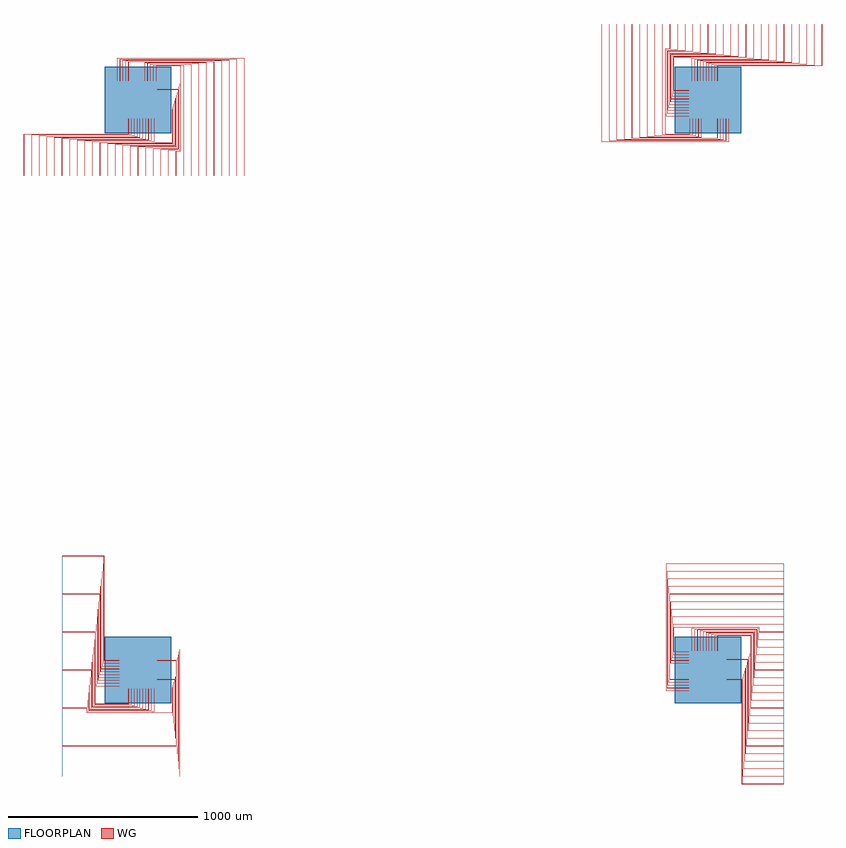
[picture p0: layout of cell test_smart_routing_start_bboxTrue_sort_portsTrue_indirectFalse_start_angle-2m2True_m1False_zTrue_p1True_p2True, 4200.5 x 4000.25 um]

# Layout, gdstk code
import gdstk
lib = gdstk.Library(unit=1e-6, precision=1e-09)
def R(c, l, rs):  # rectangles x0, y0, x1, y1
    for r in rs: c.add(gdstk.rectangle(r[:2], r[2:], *l))
def P(c, l, *ps):  # polygons
    for p in ps: c.add(gdstk.Polygon(p, *l))
WG = (1, 0)
FLOORPLAN = (10, 0)

test_smart_routing_start = lib.new_cell('test_smart_routing_start_bboxTrue_sort_portsTrue_indirectFalse_start_angle-2m2True_m1False_zTrue_p1True_p2True')
P(test_smart_routing_start, WG, [(3049.75,3100),(3049.75,3179.5),(3599.75,3179.5),(3599.75,3400),(3599.95,3400),(3599.95,3179.3),(3049.95,3179.3),(3049.95,3100)],
  [(3050.05,3100),(3050.05,3179.2),(3600.05,3179.2),(3600.05,3400),(3600.25,3400),(3600.25,3179),(3050.25,3179),(3050.25,3100)],
  [(3034.75,3100),(3034.75,3184),(3559.75,3184),(3559.75,3400),(3559.95,3400),(3559.95,3183.8),(3034.95,3183.8),(3034.95,3100)],
  [(3035.05,3100),(3035.05,3183.7),(3560.05,3183.7),(3560.05,3400),(3560.25,3400),(3560.25,3183.5),(3035.25,3183.5),(3035.25,3100)],
  [(3019.75,3100),(3019.75,3188.5),(3519.75,3188.5),(3519.75,3400),(3519.95,3400),(3519.95,3188.3),(3019.95,3188.3),(3019.95,3100)],
  [(3020.05,3100),(3020.05,3188.2),(3520.05,3188.2),(3520.05,3400),(3520.25,3400),(3520.25,3188),(3020.25,3188),(3020.25,3100)],
  [(3004.75,3100),(3004.75,3193),(3479.75,3193),(3479.75,3400),(3479.95,3400),(3479.95,3192.8),(3004.95,3192.8),(3004.95,3100)],
  [(3005.05,3100),(3005.05,3192.7),(3480.05,3192.7),(3480.05,3400),(3480.25,3400),(3480.25,3192.5),(3005.25,3192.5),(3005.25,3100)],
  [(2989.75,3100),(2989.75,3197.5),(3439.75,3197.5),(3439.75,3400),(3439.95,3400),(3439.95,3197.3),(2989.95,3197.3),(2989.95,3100)],
  [(2990.05,3100),(2990.05,3197.2),(3440.05,3197.2),(3440.05,3400),(3440.25,3400),(3440.25,3197),(2990.25,3197),(2990.25,3100)],
  [(2974.75,3100),(2974.75,3202),(3399.75,3202),(3399.75,3400),(3399.95,3400),(3399.95,3201.8),(2974.95,3201.8),(2974.95,3100)],
  [(2975.05,3100),(2975.05,3201.7),(3400.05,3201.7),(3400.05,3400),(3400.25,3400),(3400.25,3201.5),(2975.25,3201.5),(2975.25,3100)],
  [(2959.75,3100),(2959.75,3206.5),(3359.75,3206.5),(3359.75,3400),(3359.95,3400),(3359.95,3206.3),(2959.95,3206.3),(2959.95,3100)],
  [(2960.05,3100),(2960.05,3206.2),(3360.05,3206.2),(3360.05,3400),(3360.25,3400),(3360.25,3206),(2960.25,3206),(2960.25,3100)],
  [(2944.75,3100),(2944.75,3211),(3319.75,3211),(3319.75,3400),(3319.95,3400),(3319.95,3210.8),(2944.95,3210.8),(2944.95,3100)],
  [(2945.05,3100),(2945.05,3210.7),(3320.05,3210.7),(3320.05,3400),(3320.25,3400),(3320.25,3210.5),(2945.25,3210.5),(2945.25,3100)],
  [(2929.75,3100),(2929.75,3215.5),(3279.75,3215.5),(3279.75,3400),(3279.95,3400),(3279.95,3215.3),(2929.95,3215.3),(2929.95,3100)],
  [(2930.05,3100),(2930.05,3215.2),(3280.05,3215.2),(3280.05,3400),(3280.25,3400),(3280.25,3215),(2930.25,3215),(2930.25,3100)],
  [(2914.75,3100),(2914.75,3220),(3239.75,3220),(3239.75,3400),(3239.95,3400),(3239.95,3219.8),(2914.95,3219.8),(2914.95,3100)],
  [(2915.05,3100),(2915.05,3219.7),(3240.05,3219.7),(3240.05,3400),(3240.25,3400),(3240.25,3219.5),(2915.25,3219.5),(2915.25,3100)],
  [(2820.5,3049.75),(2820.5,3224.5),(3199.75,3224.5),(3199.75,3400),(3199.95,3400),(3199.95,3224.3),(2820.7,3224.3),(2820.7,3049.95),(2900,3049.95),(2900,3049.75)],
  [(2820.8,3050.05),(2820.8,3224.2),(3200.05,3224.2),(3200.05,3400),(3200.25,3400),(3200.25,3224),(2821,3224),(2821,3050.25),(2900,3050.25),(2900,3050.05)],
  [(2816,3034.75),(2816,3229),(3159.75,3229),(3159.75,3400),(3159.95,3400),(3159.95,3228.8),(2816.2,3228.8),(2816.2,3034.95),(2900,3034.95),(2900,3034.75)],
  [(2816.3,3035.05),(2816.3,3228.7),(3160.05,3228.7),(3160.05,3400),(3160.25,3400),(3160.25,3228.5),(2816.5,3228.5),(2816.5,3035.25),(2900,3035.25),(2900,3035.05)],
  [(2811.5,3019.75),(2811.5,3233.5),(3119.75,3233.5),(3119.75,3400),(3119.95,3400),(3119.95,3233.3),(2811.7,3233.3),(2811.7,3019.95),(2900,3019.95),(2900,3019.75)],
  [(2811.8,3020.05),(2811.8,3233.2),(3120.05,3233.2),(3120.05,3400),(3120.25,3400),(3120.25,3233),(2812,3233),(2812,3020.25),(2900,3020.25),(2900,3020.05)],
  [(2807,3004.75),(2807,3238),(3079.75,3238),(3079.75,3400),(3079.95,3400),(3079.95,3237.8),(2807.2,3237.8),(2807.2,3004.95),(2900,3004.95),(2900,3004.75)],
  [(2807.3,3005.05),(2807.3,3237.7),(3080.05,3237.7),(3080.05,3400),(3080.25,3400),(3080.25,3237.5),(2807.5,3237.5),(2807.5,3005.25),(2900,3005.25),(2900,3005.05)],
  [(2802.5,2989.75),(2802.5,3242.5),(3039.75,3242.5),(3039.75,3400),(3039.95,3400),(3039.95,3242.3),(2802.7,3242.3),(2802.7,2989.95),(2900,2989.95),(2900,2989.75)],
  [(2802.8,2990.05),(2802.8,3242.2),(3040.05,3242.2),(3040.05,3400),(3040.25,3400),(3040.25,3242),(2803,3242),(2803,2990.25),(2900,2990.25),(2900,2990.05)],
  [(2798,2974.75),(2798,3247),(2999.75,3247),(2999.75,3400),(2999.95,3400),(2999.95,3246.8),(2798.2,3246.8),(2798.2,2974.95),(2900,2974.95),(2900,2974.75)],
  [(2798.3,2975.05),(2798.3,3246.7),(3000.05,3246.7),(3000.05,3400),(3000.25,3400),(3000.25,3246.5),(2798.5,3246.5),(2798.5,2975.25),(2900,2975.25),(2900,2975.05)],
  [(2793.5,2959.75),(2793.5,3251.5),(2959.75,3251.5),(2959.75,3400),(2959.95,3400),(2959.95,3251.3),(2793.7,3251.3),(2793.7,2959.95),(2900,2959.95),(2900,2959.75)],
  [(2793.8,2960.05),(2793.8,3251.2),(2960.05,3251.2),(2960.05,3400),(2960.25,3400),(2960.25,3251),(2794,3251),(2794,2960.25),(2900,2960.25),(2900,2960.05)],
  [(2789,2944.75),(2789,3256),(2919.75,3256),(2919.75,3400),(2919.95,3400),(2919.95,3255.8),(2789.2,3255.8),(2789.2,2944.95),(2900,2944.95),(2900,2944.75)],
  [(2789.3,2945.05),(2789.3,3255.7),(2920.05,3255.7),(2920.05,3400),(2920.25,3400),(2920.25,3255.5),(2789.5,3255.5),(2789.5,2945.25),(2900,2945.25),(2900,2945.05)],
  [(2784.5,2929.75),(2784.5,3260.5),(2879.75,3260.5),(2879.75,3400),(2879.95,3400),(2879.95,3260.3),(2784.7,3260.3),(2784.7,2929.95),(2900,2929.95),(2900,2929.75)],
  [(2784.8,2930.05),(2784.8,3260.2),(2880.05,3260.2),(2880.05,3400),(2880.25,3400),(2880.25,3260),(2785,3260),(2785,2930.25),(2900,2930.25),(2900,2930.05)],
  [(2780,2914.75),(2780,3265),(2839.75,3265),(2839.75,3400),(2839.95,3400),(2839.95,3264.8),(2780.2,3264.8),(2780.2,2914.95),(2900,2914.95),(2900,2914.75)],
  [(2780.3,2915.05),(2780.3,3264.7),(2840.05,3264.7),(2840.05,3400),(2840.25,3400),(2840.25,3264.5),(2780.5,3264.5),(2780.5,2915.25),(2900,2915.25),(2900,2915.05)],
  [(2775.5,2820.5),(2775.5,3269.5),(2799.75,3269.5),(2799.75,3400),(2799.95,3400),(2799.95,3269.3),(2775.7,3269.3),(2775.7,2820.7),(2905.05,2820.7),(2905.05,2900),(2905.25,2900),(2905.25,2820.5)],
  [(2775.8,2820.8),(2775.8,3269.2),(2800.05,3269.2),(2800.05,3400),(2800.25,3400),(2800.25,3269),(2776,3269),(2776,2821),(2904.75,2821),(2904.75,2900),(2904.95,2900),(2904.95,2820.8)],
  [(2759.75,2816),(2759.75,3400),(2759.95,3400),(2759.95,2816.2),(2920.05,2816.2),(2920.05,2900),(2920.25,2900),(2920.25,2816)],
  [(2760.05,2816.3),(2760.05,3400),(2760.25,3400),(2760.25,2816.5),(2919.75,2816.5),(2919.75,2900),(2919.95,2900),(2919.95,2816.3)],
  [(2719.75,2811.5),(2719.75,3400),(2719.95,3400),(2719.95,2811.7),(2935.05,2811.7),(2935.05,2900),(2935.25,2900),(2935.25,2811.5)],
  [(2720.05,2811.8),(2720.05,3400),(2720.25,3400),(2720.25,2812),(2934.75,2812),(2934.75,2900),(2934.95,2900),(2934.95,2811.8)],
  [(2679.75,2807),(2679.75,3400),(2679.95,3400),(2679.95,2807.2),(2950.05,2807.2),(2950.05,2900),(2950.25,2900),(2950.25,2807)],
  [(2680.05,2807.3),(2680.05,3400),(2680.25,3400),(2680.25,2807.5),(2949.75,2807.5),(2949.75,2900),(2949.95,2900),(2949.95,2807.3)],
  [(2639.75,2802.5),(2639.75,3400),(2639.95,3400),(2639.95,2802.7),(2965.05,2802.7),(2965.05,2900),(2965.25,2900),(2965.25,2802.5)],
  [(2640.05,2802.8),(2640.05,3400),(2640.25,3400),(2640.25,2803),(2964.75,2803),(2964.75,2900),(2964.95,2900),(2964.95,2802.8)],
  [(2599.75,2798),(2599.75,3400),(2599.95,3400),(2599.95,2798.2),(3050.05,2798.2),(3050.05,2900),(3050.25,2900),(3050.25,2798)],
  [(2600.05,2798.3),(2600.05,3400),(2600.25,3400),(2600.25,2798.5),(3049.75,2798.5),(3049.75,2900),(3049.95,2900),(3049.95,2798.3)],
  [(2559.75,2793.5),(2559.75,3400),(2559.95,3400),(2559.95,2793.7),(3065.05,2793.7),(3065.05,2900),(3065.25,2900),(3065.25,2793.5)],
  [(2560.05,2793.8),(2560.05,3400),(2560.25,3400),(2560.25,2794),(3064.75,2794),(3064.75,2900),(3064.95,2900),(3064.95,2793.8)],
  [(2519.75,2789),(2519.75,3400),(2519.95,3400),(2519.95,2789.2),(3080.05,2789.2),(3080.05,2900),(3080.25,2900),(3080.25,2789)],
  [(2520.05,2789.3),(2520.05,3400),(2520.25,3400),(2520.25,2789.5),(3079.75,2789.5),(3079.75,2900),(3079.95,2900),(3079.95,2789.3)],
  [(2479.75,2784.5),(2479.75,3400),(2479.95,3400),(2479.95,2784.7),(3095.05,2784.7),(3095.05,2900),(3095.25,2900),(3095.25,2784.5)],
  [(2480.05,2784.8),(2480.05,3400),(2480.25,3400),(2480.25,2785),(3094.75,2785),(3094.75,2900),(3094.95,2900),(3094.95,2784.8)],
  [(2439.75,2780),(2439.75,3400),(2439.95,3400),(2439.95,2780.2),(3110.05,2780.2),(3110.05,2900),(3110.25,2900),(3110.25,2780)],
  [(2440.05,2780.3),(2440.05,3400),(2440.25,3400),(2440.25,2780.5),(3109.75,2780.5),(3109.75,2900),(3109.95,2900),(3109.95,2780.3)],
  [(-600.25,2600),(-600.25,2821),(-50.25,2821),(-50.25,2900),(-50.05,2900),(-50.05,2820.8),(-600.05,2820.8),(-600.05,2600)],
  [(-599.95,2600),(-599.95,2820.7),(-49.95,2820.7),(-49.95,2900),(-49.75,2900),(-49.75,2820.5),(-599.75,2820.5),(-599.75,2600)],
  [(-560.25,2600),(-560.25,2816.5),(-35.25,2816.5),(-35.25,2900),(-35.05,2900),(-35.05,2816.3),(-560.05,2816.3),(-560.05,2600)],
  [(-559.95,2600),(-559.95,2816.2),(-34.95,2816.2),(-34.95,2900),(-34.75,2900),(-34.75,2816),(-559.75,2816),(-559.75,2600)],
  [(-520.25,2600),(-520.25,2812),(-20.25,2812),(-20.25,2900),(-20.05,2900),(-20.05,2811.8),(-520.05,2811.8),(-520.05,2600)],
  [(-519.95,2600),(-519.95,2811.7),(-19.95,2811.7),(-19.95,2900),(-19.75,2900),(-19.75,2811.5),(-519.75,2811.5),(-519.75,2600)],
  [(-480.25,2600),(-480.25,2807.5),(-5.25,2807.5),(-5.25,2900),(-5.05,2900),(-5.05,2807.3),(-480.05,2807.3),(-480.05,2600)],
  [(-479.95,2600),(-479.95,2807.2),(-4.95,2807.2),(-4.95,2900),(-4.75,2900),(-4.75,2807),(-479.75,2807),(-479.75,2600)],
  [(-440.25,2600),(-440.25,2803),(9.75,2803),(9.75,2900),(9.95,2900),(9.95,2802.8),(-440.05,2802.8),(-440.05,2600)],
  [(-439.95,2600),(-439.95,2802.7),(10.05,2802.7),(10.05,2900),(10.25,2900),(10.25,2802.5),(-439.75,2802.5),(-439.75,2600)],
  [(-400.25,2600),(-400.25,2798.5),(24.75,2798.5),(24.75,2900),(24.95,2900),(24.95,2798.3),(-400.05,2798.3),(-400.05,2600)],
  [(-399.95,2600),(-399.95,2798.2),(25.05,2798.2),(25.05,2900),(25.25,2900),(25.25,2798),(-399.75,2798),(-399.75,2600)],
  [(-360.25,2600),(-360.25,2794),(39.75,2794),(39.75,2900),(39.95,2900),(39.95,2793.8),(-360.05,2793.8),(-360.05,2600)],
  [(-359.95,2600),(-359.95,2793.7),(40.05,2793.7),(40.05,2900),(40.25,2900),(40.25,2793.5),(-359.75,2793.5),(-359.75,2600)],
  [(-320.25,2600),(-320.25,2789.5),(54.75,2789.5),(54.75,2900),(54.95,2900),(54.95,2789.3),(-320.05,2789.3),(-320.05,2600)],
  [(-319.95,2600),(-319.95,2789.2),(55.05,2789.2),(55.05,2900),(55.25,2900),(55.25,2789),(-319.75,2789),(-319.75,2600)],
  [(-280.25,2600),(-280.25,2785),(69.75,2785),(69.75,2900),(69.95,2900),(69.95,2784.8),(-280.05,2784.8),(-280.05,2600)],
  [(-279.95,2600),(-279.95,2784.7),(70.05,2784.7),(70.05,2900),(70.25,2900),(70.25,2784.5),(-279.75,2784.5),(-279.75,2600)],
  [(-240.25,2600),(-240.25,2780.5),(84.75,2780.5),(84.75,2900),(84.95,2900),(84.95,2780.3),(-240.05,2780.3),(-240.05,2600)],
  [(-239.95,2600),(-239.95,2780.2),(85.05,2780.2),(85.05,2900),(85.25,2900),(85.25,2780),(-239.75,2780),(-239.75,2600)],
  [(-200.25,2600),(-200.25,2776),(179,2776),(179,2949.75),(100,2949.75),(100,2949.95),(179.2,2949.95),(179.2,2775.8),(-200.05,2775.8),(-200.05,2600)],
  [(-199.95,2600),(-199.95,2775.7),(179.3,2775.7),(179.3,2950.05),(100,2950.05),(100,2950.25),(179.5,2950.25),(179.5,2775.5),(-199.75,2775.5),(-199.75,2600)],
  [(-160.25,2600),(-160.25,2771.5),(183.5,2771.5),(183.5,2964.75),(100,2964.75),(100,2964.95),(183.7,2964.95),(183.7,2771.3),(-160.05,2771.3),(-160.05,2600)],
  [(-159.95,2600),(-159.95,2771.2),(183.8,2771.2),(183.8,2965.05),(100,2965.05),(100,2965.25),(184,2965.25),(184,2771),(-159.75,2771),(-159.75,2600)],
  [(-120.25,2600),(-120.25,2767),(188,2767),(188,2979.75),(100,2979.75),(100,2979.95),(188.2,2979.95),(188.2,2766.8),(-120.05,2766.8),(-120.05,2600)],
  [(-119.95,2600),(-119.95,2766.7),(188.3,2766.7),(188.3,2980.05),(100,2980.05),(100,2980.25),(188.5,2980.25),(188.5,2766.5),(-119.75,2766.5),(-119.75,2600)],
  [(-80.25,2600),(-80.25,2762.5),(192.5,2762.5),(192.5,2994.75),(100,2994.75),(100,2994.95),(192.7,2994.95),(192.7,2762.3),(-80.05,2762.3),(-80.05,2600)],
  [(-79.95,2600),(-79.95,2762.2),(192.8,2762.2),(192.8,2995.05),(100,2995.05),(100,2995.25),(193,2995.25),(193,2762),(-79.75,2762),(-79.75,2600)],
  [(-40.25,2600),(-40.25,2758),(197,2758),(197,3009.75),(100,3009.75),(100,3009.95),(197.2,3009.95),(197.2,2757.8),(-40.05,2757.8),(-40.05,2600)],
  [(-39.95,2600),(-39.95,2757.7),(197.3,2757.7),(197.3,3010.05),(100,3010.05),(100,3010.25),(197.5,3010.25),(197.5,2757.5),(-39.75,2757.5),(-39.75,2600)],
  [(-0.25,2600),(-0.25,2753.5),(201.5,2753.5),(201.5,3024.75),(100,3024.75),(100,3024.95),(201.7,3024.95),(201.7,2753.3),(-0.05,2753.3),(-0.05,2600)],
  [(0.05,2600),(0.05,2753.2),(201.8,2753.2),(201.8,3025.05),(100,3025.05),(100,3025.25),(202,3025.25),(202,2753),(0.25,2753),(0.25,2600)],
  [(39.75,2600),(39.75,2749),(206,2749),(206,3039.75),(100,3039.75),(100,3039.95),(206.2,3039.95),(206.2,2748.8),(39.95,2748.8),(39.95,2600)],
  [(40.05,2600),(40.05,2748.7),(206.3,2748.7),(206.3,3040.05),(100,3040.05),(100,3040.25),(206.5,3040.25),(206.5,2748.5),(40.25,2748.5),(40.25,2600)],
  [(79.75,2600),(79.75,2744.5),(210.5,2744.5),(210.5,3054.75),(100,3054.75),(100,3054.95),(210.7,3054.95),(210.7,2744.3),(79.95,2744.3),(79.95,2600)],
  [(80.05,2600),(80.05,2744.2),(210.8,2744.2),(210.8,3055.05),(100,3055.05),(100,3055.25),(211,3055.25),(211,2744),(80.25,2744),(80.25,2600)],
  [(119.75,2600),(119.75,2740),(215,2740),(215,3069.75),(100,3069.75),(100,3069.95),(215.2,3069.95),(215.2,2739.8),(119.95,2739.8),(119.95,2600)],
  [(120.05,2600),(120.05,2739.7),(215.3,2739.7),(215.3,3070.05),(100,3070.05),(100,3070.25),(215.5,3070.25),(215.5,2739.5),(120.25,2739.5),(120.25,2600)],
  [(159.75,2600),(159.75,2735.5),(219.5,2735.5),(219.5,3084.75),(100,3084.75),(100,3084.95),(219.7,3084.95),(219.7,2735.3),(159.95,2735.3),(159.95,2600)],
  [(160.05,2600),(160.05,2735.2),(219.8,2735.2),(219.8,3085.05),(100,3085.05),(100,3085.25),(220,3085.25),(220,2735),(160.25,2735),(160.25,2600)],
  [(199.75,2600),(199.75,2731),(224,2731),(224,3179),(95.25,3179),(95.25,3100),(95.05,3100),(95.05,3179.2),(224.2,3179.2),(224.2,2730.8),(199.95,2730.8),(199.95,2600)],
  [(200.05,2600),(200.05,2730.7),(224.3,2730.7),(224.3,3179.3),(94.95,3179.3),(94.95,3100),(94.75,3100),(94.75,3179.5),(224.5,3179.5),(224.5,2730.5),(200.25,2730.5),(200.25,2600)],
  [(239.75,2600),(239.75,3183.5),(80.25,3183.5),(80.25,3100),(80.05,3100),(80.05,3183.7),(239.95,3183.7),(239.95,2600)],
  [(240.05,2600),(240.05,3183.8),(79.95,3183.8),(79.95,3100),(79.75,3100),(79.75,3184),(240.25,3184),(240.25,2600)],
  [(279.75,2600),(279.75,3188),(65.25,3188),(65.25,3100),(65.05,3100),(65.05,3188.2),(279.95,3188.2),(279.95,2600)],
  [(280.05,2600),(280.05,3188.3),(64.95,3188.3),(64.95,3100),(64.75,3100),(64.75,3188.5),(280.25,3188.5),(280.25,2600)],
  [(319.75,2600),(319.75,3192.5),(50.25,3192.5),(50.25,3100),(50.05,3100),(50.05,3192.7),(319.95,3192.7),(319.95,2600)],
  [(320.05,2600),(320.05,3192.8),(49.95,3192.8),(49.95,3100),(49.75,3100),(49.75,3193),(320.25,3193),(320.25,2600)],
  [(359.75,2600),(359.75,3197),(35.25,3197),(35.25,3100),(35.05,3100),(35.05,3197.2),(359.95,3197.2),(359.95,2600)],
  [(360.05,2600),(360.05,3197.3),(34.95,3197.3),(34.95,3100),(34.75,3100),(34.75,3197.5),(360.25,3197.5),(360.25,2600)],
  [(399.75,2600),(399.75,3201.5),(-49.75,3201.5),(-49.75,3100),(-49.95,3100),(-49.95,3201.7),(399.95,3201.7),(399.95,2600)],
  [(400.05,2600),(400.05,3201.8),(-50.05,3201.8),(-50.05,3100),(-50.25,3100),(-50.25,3202),(400.25,3202),(400.25,2600)],
  [(439.75,2600),(439.75,3206),(-64.75,3206),(-64.75,3100),(-64.95,3100),(-64.95,3206.2),(439.95,3206.2),(439.95,2600)],
  [(440.05,2600),(440.05,3206.3),(-65.05,3206.3),(-65.05,3100),(-65.25,3100),(-65.25,3206.5),(440.25,3206.5),(440.25,2600)],
  [(479.75,2600),(479.75,3210.5),(-79.75,3210.5),(-79.75,3100),(-79.95,3100),(-79.95,3210.7),(479.95,3210.7),(479.95,2600)],
  [(480.05,2600),(480.05,3210.8),(-80.05,3210.8),(-80.05,3100),(-80.25,3100),(-80.25,3211),(480.25,3211),(480.25,2600)],
  [(519.75,2600),(519.75,3215),(-94.75,3215),(-94.75,3100),(-94.95,3100),(-94.95,3215.2),(519.95,3215.2),(519.95,2600)],
  [(520.05,2600),(520.05,3215.3),(-95.05,3215.3),(-95.05,3100),(-95.25,3100),(-95.25,3215.5),(520.25,3215.5),(520.25,2600)],
  [(559.75,2600),(559.75,3219.5),(-109.75,3219.5),(-109.75,3100),(-109.95,3100),(-109.95,3219.7),(559.95,3219.7),(559.95,2600)],
  [(560.05,2600),(560.05,3219.8),(-110.05,3219.8),(-110.05,3100),(-110.25,3100),(-110.25,3220),(560.25,3220),(560.25,2600)],
  [(-179.5,49.75),(-179.5,599.75),(-400,599.75),(-400,599.95),(-179.3,599.95),(-179.3,49.95),(-100,49.95),(-100,49.75)],
  [(-179.2,50.05),(-179.2,600.05),(-400,600.05),(-400,600.25),(-179,600.25),(-179,50.25),(-100,50.25),(-100,50.05)],
  [(-184,34.75),(-184,559.75),(-400,559.75),(-400,559.95),(-183.8,559.95),(-183.8,34.95),(-100,34.95),(-100,34.75)],
  [(-183.7,35.05),(-183.7,560.05),(-400,560.05),(-400,560.25),(-183.5,560.25),(-183.5,35.25),(-100,35.25),(-100,35.05)],
  [(-188.5,19.75),(-188.5,519.75),(-400,519.75),(-400,519.95),(-188.3,519.95),(-188.3,19.95),(-100,19.95),(-100,19.75)],
  [(-188.2,20.05),(-188.2,520.05),(-400,520.05),(-400,520.25),(-188,520.25),(-188,20.25),(-100,20.25),(-100,20.05)],
  [(-193,4.75),(-193,479.75),(-400,479.75),(-400,479.95),(-192.8,479.95),(-192.8,4.95),(-100,4.95),(-100,4.75)],
  [(-192.7,5.05),(-192.7,480.05),(-400,480.05),(-400,480.25),(-192.5,480.25),(-192.5,5.25),(-100,5.25),(-100,5.05)],
  [(-197.5,-10.25),(-197.5,439.75),(-400,439.75),(-400,439.95),(-197.3,439.95),(-197.3,-10.05),(-100,-10.05),(-100,-10.25)],
  [(-197.2,-9.95),(-197.2,440.05),(-400,440.05),(-400,440.25),(-197,440.25),(-197,-9.75),(-100,-9.75),(-100,-9.95)],
  [(-202,-25.25),(-202,399.75),(-400,399.75),(-400,399.95),(-201.8,399.95),(-201.8,-25.05),(-100,-25.05),(-100,-25.25)],
  [(-201.7,-24.95),(-201.7,400.05),(-400,400.05),(-400,400.25),(-201.5,400.25),(-201.5,-24.75),(-100,-24.75),(-100,-24.95)],
  [(-206.5,-40.25),(-206.5,359.75),(-400,359.75),(-400,359.95),(-206.3,359.95),(-206.3,-40.05),(-100,-40.05),(-100,-40.25)],
  [(-206.2,-39.95),(-206.2,360.05),(-400,360.05),(-400,360.25),(-206,360.25),(-206,-39.75),(-100,-39.75),(-100,-39.95)],
  [(-211,-55.25),(-211,319.75),(-400,319.75),(-400,319.95),(-210.8,319.95),(-210.8,-55.05),(-100,-55.05),(-100,-55.25)],
  [(-210.7,-54.95),(-210.7,320.05),(-400,320.05),(-400,320.25),(-210.5,320.25),(-210.5,-54.75),(-100,-54.75),(-100,-54.95)],
  [(-215.5,-70.25),(-215.5,279.75),(-400,279.75),(-400,279.95),(-215.3,279.95),(-215.3,-70.05),(-100,-70.05),(-100,-70.25)],
  [(-215.2,-69.95),(-215.2,280.05),(-400,280.05),(-400,280.25),(-215,280.25),(-215,-69.75),(-100,-69.75),(-100,-69.95)],
  [(-220,-85.25),(-220,239.75),(-400,239.75),(-400,239.95),(-219.8,239.95),(-219.8,-85.05),(-100,-85.05),(-100,-85.25)],
  [(-219.7,-84.95),(-219.7,240.05),(-400,240.05),(-400,240.25),(-219.5,240.25),(-219.5,-84.75),(-100,-84.75),(-100,-84.95)],
  [(-224.5,-179.5),(-224.5,199.75),(-400,199.75),(-400,199.95),(-224.3,199.95),(-224.3,-179.3),(-49.95,-179.3),(-49.95,-100),(-49.75,-100),(-49.75,-179.5)],
  [(-224.2,-179.2),(-224.2,200.05),(-400,200.05),(-400,200.25),(-224,200.25),(-224,-179),(-50.25,-179),(-50.25,-100),(-50.05,-100),(-50.05,-179.2)],
  [(-229,-184),(-229,159.75),(-400,159.75),(-400,159.95),(-228.8,159.95),(-228.8,-183.8),(-34.95,-183.8),(-34.95,-100),(-34.75,-100),(-34.75,-184)],
  [(-228.7,-183.7),(-228.7,160.05),(-400,160.05),(-400,160.25),(-228.5,160.25),(-228.5,-183.5),(-35.25,-183.5),(-35.25,-100),(-35.05,-100),(-35.05,-183.7)],
  [(-233.5,-188.5),(-233.5,119.75),(-400,119.75),(-400,119.95),(-233.3,119.95),(-233.3,-188.3),(-19.95,-188.3),(-19.95,-100),(-19.75,-100),(-19.75,-188.5)],
  [(-233.2,-188.2),(-233.2,120.05),(-400,120.05),(-400,120.25),(-233,120.25),(-233,-188),(-20.25,-188),(-20.25,-100),(-20.05,-100),(-20.05,-188.2)],
  [(-238,-193),(-238,79.75),(-400,79.75),(-400,79.95),(-237.8,79.95),(-237.8,-192.8),(-4.95,-192.8),(-4.95,-100),(-4.75,-100),(-4.75,-193)],
  [(-237.7,-192.7),(-237.7,80.05),(-400,80.05),(-400,80.25),(-237.5,80.25),(-237.5,-192.5),(-5.25,-192.5),(-5.25,-100),(-5.05,-100),(-5.05,-192.7)],
  [(-242.5,-197.5),(-242.5,39.75),(-400,39.75),(-400,39.95),(-242.3,39.95),(-242.3,-197.3),(10.05,-197.3),(10.05,-100),(10.25,-100),(10.25,-197.5)],
  [(-242.2,-197.2),(-242.2,40.05),(-400,40.05),(-400,40.25),(-242,40.25),(-242,-197),(9.75,-197),(9.75,-100),(9.95,-100),(9.95,-197.2)],
  [(-247,-202),(-247,-0.25),(-400,-0.25),(-400,-0.05),(-246.8,-0.05),(-246.8,-201.8),(25.05,-201.8),(25.05,-100),(25.25,-100),(25.25,-202)],
  [(-246.7,-201.7),(-246.7,0.05),(-400,0.05),(-400,0.25),(-246.5,0.25),(-246.5,-201.5),(24.75,-201.5),(24.75,-100),(24.95,-100),(24.95,-201.7)],
  [(-251.5,-206.5),(-251.5,-40.25),(-400,-40.25),(-400,-40.05),(-251.3,-40.05),(-251.3,-206.3),(40.05,-206.3),(40.05,-100),(40.25,-100),(40.25,-206.5)],
  [(-251.2,-206.2),(-251.2,-39.95),(-400,-39.95),(-400,-39.75),(-251,-39.75),(-251,-206),(39.75,-206),(39.75,-100),(39.95,-100),(39.95,-206.2)],
  [(-256,-211),(-256,-80.25),(-400,-80.25),(-400,-80.05),(-255.8,-80.05),(-255.8,-210.8),(55.05,-210.8),(55.05,-100),(55.25,-100),(55.25,-211)],
  [(-255.7,-210.7),(-255.7,-79.95),(-400,-79.95),(-400,-79.75),(-255.5,-79.75),(-255.5,-210.5),(54.75,-210.5),(54.75,-100),(54.95,-100),(54.95,-210.7)],
  [(-260.2,-215.2),(-260.2,-119.95),(-400,-119.95),(-400,-119.75),(-260,-119.75),(-260,-215),(69.75,-215),(69.75,-100),(69.95,-100),(69.95,-215.2)],
  [(-260.5,-215.5),(-260.5,-120.25),(-400,-120.25),(-400,-120.05),(-260.3,-120.05),(-260.3,-215.3),(70.05,-215.3),(70.05,-100),(70.25,-100),(70.25,-215.5)],
  [(-264.7,-219.7),(-264.7,-159.95),(-400,-159.95),(-400,-159.75),(-264.5,-159.75),(-264.5,-219.5),(84.75,-219.5),(84.75,-100),(84.95,-100),(84.95,-219.7)],
  [(-265,-220),(-265,-160.25),(-400,-160.25),(-400,-160.05),(-264.8,-160.05),(-264.8,-219.8),(85.05,-219.8),(85.05,-100),(85.25,-100),(85.25,-220)],
  [(-269.2,-224.2),(-269.2,-199.95),(-400,-199.95),(-400,-199.75),(-269,-199.75),(-269,-224),(179,-224),(179,-95.25),(100,-95.25),(100,-95.05),(179.2,-95.05),(179.2,-224.2)],
  [(-269.5,-224.5),(-269.5,-200.25),(-400,-200.25),(-400,-200.05),(-269.3,-200.05),(-269.3,-224.3),(179.3,-224.3),(179.3,-94.95),(100,-94.95),(100,-94.75),(179.5,-94.75),(179.5,-224.5)],
  [(-400,-239.95),(-400,-239.75),(183.5,-239.75),(183.5,-80.25),(100,-80.25),(100,-80.05),(183.7,-80.05),(183.7,-239.95)],
  [(-400,-240.25),(-400,-240.05),(183.8,-240.05),(183.8,-79.95),(100,-79.95),(100,-79.75),(184,-79.75),(184,-240.25)],
  [(-400,-279.95),(-400,-279.75),(188,-279.75),(188,-65.25),(100,-65.25),(100,-65.05),(188.2,-65.05),(188.2,-279.95)],
  [(-400,-280.25),(-400,-280.05),(188.3,-280.05),(188.3,-64.95),(100,-64.95),(100,-64.75),(188.5,-64.75),(188.5,-280.25)],
  [(-400,-319.95),(-400,-319.75),(192.5,-319.75),(192.5,-50.25),(100,-50.25),(100,-50.05),(192.7,-50.05),(192.7,-319.95)],
  [(-400,-320.25),(-400,-320.05),(192.8,-320.05),(192.8,-49.95),(100,-49.95),(100,-49.75),(193,-49.75),(193,-320.25)],
  [(-400,-359.95),(-400,-359.75),(197,-359.75),(197,-35.25),(100,-35.25),(100,-35.05),(197.2,-35.05),(197.2,-359.95)],
  [(-400,-360.25),(-400,-360.05),(197.3,-360.05),(197.3,-34.95),(100,-34.95),(100,-34.75),(197.5,-34.75),(197.5,-360.25)],
  [(-400,-399.95),(-400,-399.75),(201.5,-399.75),(201.5,49.75),(100,49.75),(100,49.95),(201.7,49.95),(201.7,-399.95)],
  [(-400,-400.25),(-400,-400.05),(201.8,-400.05),(201.8,50.05),(100,50.05),(100,50.25),(202,50.25),(202,-400.25)],
  [(-400,-439.95),(-400,-439.75),(206,-439.75),(206,64.75),(100,64.75),(100,64.95),(206.2,64.95),(206.2,-439.95)],
  [(-400,-440.25),(-400,-440.05),(206.3,-440.05),(206.3,65.05),(100,65.05),(100,65.25),(206.5,65.25),(206.5,-440.25)],
  [(-400,-479.95),(-400,-479.75),(210.5,-479.75),(210.5,79.75),(100,79.75),(100,79.95),(210.7,79.95),(210.7,-479.95)],
  [(-400,-480.25),(-400,-480.05),(210.8,-480.05),(210.8,80.05),(100,80.05),(100,80.25),(211,80.25),(211,-480.25)],
  [(-400,-519.95),(-400,-519.75),(215,-519.75),(215,94.75),(100,94.75),(100,94.95),(215.2,94.95),(215.2,-519.95)],
  [(-400,-520.25),(-400,-520.05),(215.3,-520.05),(215.3,95.05),(100,95.05),(100,95.25),(215.5,95.25),(215.5,-520.25)],
  [(-400,-559.95),(-400,-559.75),(219.5,-559.75),(219.5,109.75),(100,109.75),(100,109.95),(219.7,109.95),(219.7,-559.95)],
  [(-400,-560.25),(-400,-560.05),(219.8,-560.05),(219.8,110.05),(100,110.05),(100,110.25),(220,110.25),(220,-560.25)],
  [(3179,-600.25),(3179,-50.25),(3100,-50.25),(3100,-50.05),(3179.2,-50.05),(3179.2,-600.05),(3400,-600.05),(3400,-600.25)],
  [(3179.3,-599.95),(3179.3,-49.95),(3100,-49.95),(3100,-49.75),(3179.5,-49.75),(3179.5,-599.75),(3400,-599.75),(3400,-599.95)],
  [(3183.5,-560.25),(3183.5,-35.25),(3100,-35.25),(3100,-35.05),(3183.7,-35.05),(3183.7,-560.05),(3400,-560.05),(3400,-560.25)],
  [(3183.8,-559.95),(3183.8,-34.95),(3100,-34.95),(3100,-34.75),(3184,-34.75),(3184,-559.75),(3400,-559.75),(3400,-559.95)],
  [(3188,-520.25),(3188,-20.25),(3100,-20.25),(3100,-20.05),(3188.2,-20.05),(3188.2,-520.05),(3400,-520.05),(3400,-520.25)],
  [(3188.3,-519.95),(3188.3,-19.95),(3100,-19.95),(3100,-19.75),(3188.5,-19.75),(3188.5,-519.75),(3400,-519.75),(3400,-519.95)],
  [(3192.5,-480.25),(3192.5,-5.25),(3100,-5.25),(3100,-5.05),(3192.7,-5.05),(3192.7,-480.05),(3400,-480.05),(3400,-480.25)],
  [(3192.8,-479.95),(3192.8,-4.95),(3100,-4.95),(3100,-4.75),(3193,-4.75),(3193,-479.75),(3400,-479.75),(3400,-479.95)],
  [(3197,-440.25),(3197,9.75),(3100,9.75),(3100,9.95),(3197.2,9.95),(3197.2,-440.05),(3400,-440.05),(3400,-440.25)],
  [(3197.3,-439.95),(3197.3,10.05),(3100,10.05),(3100,10.25),(3197.5,10.25),(3197.5,-439.75),(3400,-439.75),(3400,-439.95)],
  [(3201.5,-400.25),(3201.5,24.75),(3100,24.75),(3100,24.95),(3201.7,24.95),(3201.7,-400.05),(3400,-400.05),(3400,-400.25)],
  [(3201.8,-399.95),(3201.8,25.05),(3100,25.05),(3100,25.25),(3202,25.25),(3202,-399.75),(3400,-399.75),(3400,-399.95)],
  [(3206,-360.25),(3206,39.75),(3100,39.75),(3100,39.95),(3206.2,39.95),(3206.2,-360.05),(3400,-360.05),(3400,-360.25)],
  [(3206.3,-359.95),(3206.3,40.05),(3100,40.05),(3100,40.25),(3206.5,40.25),(3206.5,-359.75),(3400,-359.75),(3400,-359.95)],
  [(3210.5,-320.25),(3210.5,54.75),(3100,54.75),(3100,54.95),(3210.7,54.95),(3210.7,-320.05),(3400,-320.05),(3400,-320.25)],
  [(3210.8,-319.95),(3210.8,55.05),(3100,55.05),(3100,55.25),(3211,55.25),(3211,-319.75),(3400,-319.75),(3400,-319.95)],
  [(3215,-280.25),(3215,69.75),(3100,69.75),(3100,69.95),(3215.2,69.95),(3215.2,-280.05),(3400,-280.05),(3400,-280.25)],
  [(3215.3,-279.95),(3215.3,70.05),(3100,70.05),(3100,70.25),(3215.5,70.25),(3215.5,-279.75),(3400,-279.75),(3400,-279.95)],
  [(3219.5,-240.25),(3219.5,84.75),(3100,84.75),(3100,84.95),(3219.7,84.95),(3219.7,-240.05),(3400,-240.05),(3400,-240.25)],
  [(3219.8,-239.95),(3219.8,85.05),(3100,85.05),(3100,85.25),(3220,85.25),(3220,-239.75),(3400,-239.75),(3400,-239.95)],
  [(3224,-200.25),(3224,179),(3050.25,179),(3050.25,100),(3050.05,100),(3050.05,179.2),(3224.2,179.2),(3224.2,-200.05),(3400,-200.05),(3400,-200.25)],
  [(3224.3,-199.95),(3224.3,179.3),(3049.95,179.3),(3049.95,100),(3049.75,100),(3049.75,179.5),(3224.5,179.5),(3224.5,-199.75),(3400,-199.75),(3400,-199.95)],
  [(3228.5,-160.25),(3228.5,183.5),(3035.25,183.5),(3035.25,100),(3035.05,100),(3035.05,183.7),(3228.7,183.7),(3228.7,-160.05),(3400,-160.05),(3400,-160.25)],
  [(3228.8,-159.95),(3228.8,183.8),(3034.95,183.8),(3034.95,100),(3034.75,100),(3034.75,184),(3229,184),(3229,-159.75),(3400,-159.75),(3400,-159.95)],
  [(3233,-120.25),(3233,188),(3020.25,188),(3020.25,100),(3020.05,100),(3020.05,188.2),(3233.2,188.2),(3233.2,-120.05),(3400,-120.05),(3400,-120.25)],
  [(3233.3,-119.95),(3233.3,188.3),(3019.95,188.3),(3019.95,100),(3019.75,100),(3019.75,188.5),(3233.5,188.5),(3233.5,-119.75),(3400,-119.75),(3400,-119.95)],
  [(3237.5,-80.25),(3237.5,192.5),(3005.25,192.5),(3005.25,100),(3005.05,100),(3005.05,192.7),(3237.7,192.7),(3237.7,-80.05),(3400,-80.05),(3400,-80.25)],
  [(3237.8,-79.95),(3237.8,192.8),(3004.95,192.8),(3004.95,100),(3004.75,100),(3004.75,193),(3238,193),(3238,-79.75),(3400,-79.75),(3400,-79.95)],
  [(3242,-40.25),(3242,197),(2990.25,197),(2990.25,100),(2990.05,100),(2990.05,197.2),(3242.2,197.2),(3242.2,-40.05),(3400,-40.05),(3400,-40.25)],
  [(3242.3,-39.95),(3242.3,197.3),(2989.95,197.3),(2989.95,100),(2989.75,100),(2989.75,197.5),(3242.5,197.5),(3242.5,-39.75),(3400,-39.75),(3400,-39.95)],
  [(3246.5,-0.25),(3246.5,201.5),(2975.25,201.5),(2975.25,100),(2975.05,100),(2975.05,201.7),(3246.7,201.7),(3246.7,-0.05),(3400,-0.05),(3400,-0.25)],
  [(3246.8,0.05),(3246.8,201.8),(2974.95,201.8),(2974.95,100),(2974.75,100),(2974.75,202),(3247,202),(3247,0.25),(3400,0.25),(3400,0.05)],
  [(3251,39.75),(3251,206),(2960.25,206),(2960.25,100),(2960.05,100),(2960.05,206.2),(3251.2,206.2),(3251.2,39.95),(3400,39.95),(3400,39.75)],
  [(3251.3,40.05),(3251.3,206.3),(2959.95,206.3),(2959.95,100),(2959.75,100),(2959.75,206.5),(3251.5,206.5),(3251.5,40.25),(3400,40.25),(3400,40.05)],
  [(3255.5,79.75),(3255.5,210.5),(2945.25,210.5),(2945.25,100),(2945.05,100),(2945.05,210.7),(3255.7,210.7),(3255.7,79.95),(3400,79.95),(3400,79.75)],
  [(3255.8,80.05),(3255.8,210.8),(2944.95,210.8),(2944.95,100),(2944.75,100),(2944.75,211),(3256,211),(3256,80.25),(3400,80.25),(3400,80.05)],
  [(2930.05,100),(2930.05,215.2),(3260.2,215.2),(3260.2,119.95),(3400,119.95),(3400,119.75),(3260,119.75),(3260,215),(2930.25,215),(2930.25,100)],
  [(2929.75,100),(2929.75,215.5),(3260.5,215.5),(3260.5,120.25),(3400,120.25),(3400,120.05),(3260.3,120.05),(3260.3,215.3),(2929.95,215.3),(2929.95,100)],
  [(2915.05,100),(2915.05,219.7),(3264.7,219.7),(3264.7,159.95),(3400,159.95),(3400,159.75),(3264.5,159.75),(3264.5,219.5),(2915.25,219.5),(2915.25,100)],
  [(2914.75,100),(2914.75,220),(3265,220),(3265,160.25),(3400,160.25),(3400,160.05),(3264.8,160.05),(3264.8,219.8),(2914.95,219.8),(2914.95,100)],
  [(2820.8,95.05),(2820.8,224.2),(3269.2,224.2),(3269.2,199.95),(3400,199.95),(3400,199.75),(3269,199.75),(3269,224),(2821,224),(2821,95.25),(2900,95.25),(2900,95.05)],
  [(2820.5,94.75),(2820.5,224.5),(3269.5,224.5),(3269.5,200.25),(3400,200.25),(3400,200.05),(3269.3,200.05),(3269.3,224.3),(2820.7,224.3),(2820.7,94.95),(2900,94.95),(2900,94.75)],
  [(2816.3,80.05),(2816.3,239.95),(3400,239.95),(3400,239.75),(2816.5,239.75),(2816.5,80.25),(2900,80.25),(2900,80.05)],
  [(2816,79.75),(2816,240.25),(3400,240.25),(3400,240.05),(2816.2,240.05),(2816.2,79.95),(2900,79.95),(2900,79.75)],
  [(2811.8,65.05),(2811.8,279.95),(3400,279.95),(3400,279.75),(2812,279.75),(2812,65.25),(2900,65.25),(2900,65.05)],
  [(2811.5,64.75),(2811.5,280.25),(3400,280.25),(3400,280.05),(2811.7,280.05),(2811.7,64.95),(2900,64.95),(2900,64.75)],
  [(2807.3,50.05),(2807.3,319.95),(3400,319.95),(3400,319.75),(2807.5,319.75),(2807.5,50.25),(2900,50.25),(2900,50.05)],
  [(2807,49.75),(2807,320.25),(3400,320.25),(3400,320.05),(2807.2,320.05),(2807.2,49.95),(2900,49.95),(2900,49.75)],
  [(2802.8,35.05),(2802.8,359.95),(3400,359.95),(3400,359.75),(2803,359.75),(2803,35.25),(2900,35.25),(2900,35.05)],
  [(2802.5,34.75),(2802.5,360.25),(3400,360.25),(3400,360.05),(2802.7,360.05),(2802.7,34.95),(2900,34.95),(2900,34.75)],
  [(2798.3,-49.95),(2798.3,399.95),(3400,399.95),(3400,399.75),(2798.5,399.75),(2798.5,-49.75),(2900,-49.75),(2900,-49.95)],
  [(2798,-50.25),(2798,400.25),(3400,400.25),(3400,400.05),(2798.2,400.05),(2798.2,-50.05),(2900,-50.05),(2900,-50.25)],
  [(2793.8,-64.95),(2793.8,439.95),(3400,439.95),(3400,439.75),(2794,439.75),(2794,-64.75),(2900,-64.75),(2900,-64.95)],
  [(2793.5,-65.25),(2793.5,440.25),(3400,440.25),(3400,440.05),(2793.7,440.05),(2793.7,-65.05),(2900,-65.05),(2900,-65.25)],
  [(2789.3,-79.95),(2789.3,479.95),(3400,479.95),(3400,479.75),(2789.5,479.75),(2789.5,-79.75),(2900,-79.75),(2900,-79.95)],
  [(2789,-80.25),(2789,480.25),(3400,480.25),(3400,480.05),(2789.2,480.05),(2789.2,-80.05),(2900,-80.05),(2900,-80.25)],
  [(2784.8,-94.95),(2784.8,519.95),(3400,519.95),(3400,519.75),(2785,519.75),(2785,-94.75),(2900,-94.75),(2900,-94.95)],
  [(2784.5,-95.25),(2784.5,520.25),(3400,520.25),(3400,520.05),(2784.7,520.05),(2784.7,-95.05),(2900,-95.05),(2900,-95.25)],
  [(2780.3,-109.95),(2780.3,559.95),(3400,559.95),(3400,559.75),(2780.5,559.75),(2780.5,-109.75),(2900,-109.75),(2900,-109.95)],
  [(2780,-110.25),(2780,560.25),(3400,560.25),(3400,560.05),(2780.2,560.05),(2780.2,-110.05),(2900,-110.05),(2900,-110.25)])
R(test_smart_routing_start, FLOORPLAN, [(-175,-175,175,175), (2825,-175,3175,175), (-175,2825,175,3175), (2825,2825,3175,3175)])
P(test_smart_routing_start, FLOORPLAN, [(-400,-560),(-400,600),(-400,600),(-400,-560)],
  [(-600,2600),(-600,2600),(560,2600),(560,2600)],
  [(3400,-600),(3400,560),(3400,560),(3400,-600)],
  [(2440,3400),(2440,3400),(3600,3400),(3600,3400)])

lib.write_gds('test_smart_routing_start_bboxTrue_sort_portsTrue_indirectFalse_start_angle-2m2True_m1False_zTrue_p1True_p2True.gds')
